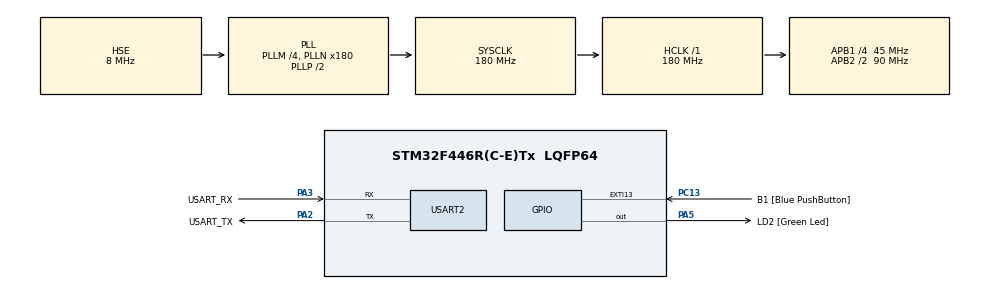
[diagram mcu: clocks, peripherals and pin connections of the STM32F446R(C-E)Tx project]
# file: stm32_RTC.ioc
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Mcu.Family=STM32F4
Mcu.Name=STM32F446R(C-E)Tx
Mcu.Package=LQFP64
NVIC.PriorityGroup=NVIC_PRIORITYGROUP_0
PA13.GPIO_Label=TMS
PA13.Mode=Serial_Wire
PA13.Signal=SYS_JTMS-SWDIO
PA14.GPIO_Label=TCK
PA14.Mode=Serial_Wire
PA14.Signal=SYS_JTCK-SWCLK
PA2.GPIO_Label=USART_TX
PA2.Mode=Asynchronous
PA2.Signal=USART2_TX
PA3.GPIO_Label=USART_RX
PA3.Mode=Asynchronous
PA3.Signal=USART2_RX
PA5.GPIO_Label=LD2 [Green Led]
PA5.Signal=GPIO_Output
PB3.GPIO_Label=SWO
PB3.Signal=SYS_JTDO-SWO
PC13.GPIO_Label=B1 [Blue PushButton]
PC13.GPIO_ModeDefaultEXTI=GPIO_MODE_IT_FALLING
PC13.Signal=GPXTI13
PC14-OSC32_IN.Mode=LSE-External-Oscillator
PC14-OSC32_IN.Signal=RCC_OSC32_IN
PC15-OSC32_OUT.Mode=LSE-External-Oscillator
PC15-OSC32_OUT.Signal=RCC_OSC32_OUT
PH0-OSC_IN.Mode=HSE-External-Oscillator
PH0-OSC_IN.Signal=RCC_OSC_IN
PH1-OSC_OUT.Mode=HSE-External-Oscillator
PH1-OSC_OUT.Signal=RCC_OSC_OUT
ProjectManager.HeapSize=0x200
ProjectManager.StackSize=0x400
ProjectManager.TargetToolchain=STM32CubeIDE
RCC.48MHZClocksFreq_Value=84000000
RCC.AHBFreq_Value=180000000
RCC.APB1CLKDivider=RCC_HCLK_DIV4
RCC.APB1Freq_Value=45000000
RCC.APB1TimFreq_Value=90000000
RCC.APB2CLKDivider=RCC_HCLK_DIV2
RCC.APB2Freq_Value=90000000
RCC.APB2TimFreq_Value=180000000
RCC.CortexFreq_Value=180000000
RCC.FLatency-AdvancedSettings=FLASH_LATENCY_5
RCC.HCLKFreq_Value=180000000
RCC.HSE_VALUE=8000000
RCC.HSI_VALUE=16000000
RCC.PLLM=4
RCC.PLLN=180
RCC.PLLSourceVirtual=RCC_PLLSOURCE_HSE
RCC.RCC_RTC_Clock_SourceVirtual=RCC_RTCCLKSOURCE_LSE
RCC.RCC_RTC_Clock_Source_FROM_HSE=RCC_RTCCLKSOURCE_HSE_DIV25
RCC.SYSCLKFreq_VALUE=180000000
RCC.SYSCLKSource=RCC_SYSCLKSOURCE_PLLCLK
RCC.USBFreq_Value=180000000
RCC.VCOOutputFreq_Value=360000000
RTC.Format=RTC_FORMAT_BIN
RTC.SynchPrediv=255
USART2.VirtualMode=VM_ASYNC
VP_RTC_VS_RTC_Activate.Mode=RTC_Enabled
VP_RTC_VS_RTC_Calendar.Mode=RTC_Calendar
board=NUCLEO-F446RE

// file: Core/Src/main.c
/* USER CODE BEGIN Header */
/**
  ******************************************************************************
  * @file           : main.c
  * @brief          : Main program body
  ******************************************************************************
  * @attention
  *
  * Copyright (c) 2026 STMicroelectronics.
  * All rights reserved.
  *
  * This software is licensed under terms that can be found in the LICENSE file
  * in the root directory of this software component.
  * If no LICENSE file comes with this software, it is provided AS-IS.
  *
  ******************************************************************************
  */
/* USER CODE END Header */
#include "main.h"

/* USER CODE BEGIN Includes */
#include <stdio.h>
/* USER CODE END Includes */

RTC_HandleTypeDef hrtc;

UART_HandleTypeDef huart2;

/* USER CODE BEGIN PV */
// Global variables for Time and Date (populate these using HAL_RTC_GetTime/Date)
RTC_TimeTypeDef sTime;
RTC_DateTypeDef sDate;

/* USER CODE END PV */

void SystemClock_Config(void);
static void MX_GPIO_Init(void);
static void MX_USART2_UART_Init(void);
static void MX_RTC_Init(void);

/* USER CODE BEGIN 0 */
// Send printf to uart2
int _write(int file, char *ptr, int len)
{
    HAL_UART_Transmit(&huart2, (uint8_t *)ptr, len, HAL_MAX_DELAY);
    return len;
}

void RTC_SetDateTime(uint8_t year, uint8_t month, uint8_t day,
                     uint8_t hour, uint8_t min, uint8_t sec)
{
    RTC_TimeTypeDef sTime = {0};
    RTC_DateTypeDef sDate = {0};

    /* Set Time */
    sTime.Hours   = hour;
    sTime.Minutes = min;
    sTime.Seconds = sec;
    sTime.DayLightSaving = RTC_DAYLIGHTSAVING_NONE;
    sTime.StoreOperation = RTC_STOREOPERATION_RESET;

    HAL_RTC_SetTime(&hrtc, &sTime, RTC_FORMAT_BIN);

    /* Set Date */
    sDate.Year  = year;   // 0–99  (e.g. 26 for 2026)
    sDate.Month = month;  // 1–12
    sDate.Date  = day;    // 1–31
    sDate.WeekDay = RTC_WEEKDAY_MONDAY; // optional but recommended

    HAL_RTC_SetDate(&hrtc, &sDate, RTC_FORMAT_BIN);
}

/* USER CODE END 0 */

int main(void)
{

  /* MCU Configuration--------------------------------------------------------*/

  /* Reset of all peripherals, Initializes the Flash interface and the Systick. */
  HAL_Init();

  /* Configure the system clock */
  SystemClock_Config();

  /* Initialize all configured peripherals */
  MX_GPIO_Init();
  MX_USART2_UART_Init();
  MX_RTC_Init();
  /* USER CODE BEGIN 2 */
  // Function to set date and time
  RTC_SetDateTime(26, 1, 5, 10, 51, 0);  // 2026-01-05 10:45:00

  /* USER CODE END 2 */

  /* Infinite loop */
  /* USER CODE BEGIN WHILE */
  while (1)
  {
	    HAL_RTC_GetTime(&hrtc, &sTime, RTC_FORMAT_BIN);
	    HAL_RTC_GetDate(&hrtc, &sDate, RTC_FORMAT_BIN);

	    printf("20%02d-%02d-%02d %02d:%02d:%02d\r\n",
	           sDate.Year, sDate.Month, sDate.Date,
	           sTime.Hours, sTime.Minutes, sTime.Seconds);

	    HAL_Delay(1000);
    /* USER CODE END WHILE */

  }
}

void SystemClock_Config(void)
{
  RCC_OscInitTypeDef RCC_OscInitStruct = {0};
  RCC_ClkInitTypeDef RCC_ClkInitStruct = {0};

  /** Configure the main internal regulator output voltage
  */
  __HAL_RCC_PWR_CLK_ENABLE();
  __HAL_PWR_VOLTAGESCALING_CONFIG(PWR_REGULATOR_VOLTAGE_SCALE1);

  /** Initializes the RCC Oscillators according to the specified parameters
  * in the RCC_OscInitTypeDef structure.
  */
  RCC_OscInitStruct.OscillatorType = RCC_OSCILLATORTYPE_HSE|RCC_OSCILLATORTYPE_LSE;
  RCC_OscInitStruct.HSEState = RCC_HSE_ON;
  RCC_OscInitStruct.LSEState = RCC_LSE_ON;
  RCC_OscInitStruct.PLL.PLLState = RCC_PLL_ON;
  RCC_OscInitStruct.PLL.PLLSource = RCC_PLLSOURCE_HSE;
  RCC_OscInitStruct.PLL.PLLM = 4;
  RCC_OscInitStruct.PLL.PLLN = 180;
  RCC_OscInitStruct.PLL.PLLP = RCC_PLLP_DIV2;
  RCC_OscInitStruct.PLL.PLLQ = 2;
  RCC_OscInitStruct.PLL.PLLR = 2;
  if (HAL_RCC_OscConfig(&RCC_OscInitStruct) != HAL_OK)
  {
    Error_Handler();
  }

  /** Activate the Over-Drive mode
  */
  if (HAL_PWREx_EnableOverDrive() != HAL_OK)
  {
    Error_Handler();
  }

  /** Initializes the CPU, AHB and APB buses clocks
  */
  RCC_ClkInitStruct.ClockType = RCC_CLOCKTYPE_HCLK|RCC_CLOCKTYPE_SYSCLK
                              |RCC_CLOCKTYPE_PCLK1|RCC_CLOCKTYPE_PCLK2;
  RCC_ClkInitStruct.SYSCLKSource = RCC_SYSCLKSOURCE_PLLCLK;
  RCC_ClkInitStruct.AHBCLKDivider = RCC_SYSCLK_DIV1;
  RCC_ClkInitStruct.APB1CLKDivider = RCC_HCLK_DIV4;
  RCC_ClkInitStruct.APB2CLKDivider = RCC_HCLK_DIV2;

  if (HAL_RCC_ClockConfig(&RCC_ClkInitStruct, FLASH_LATENCY_5) != HAL_OK)
  {
    Error_Handler();
  }
}

static void MX_RTC_Init(void)
{

  RTC_TimeTypeDef sTime = {0};
  RTC_DateTypeDef sDate = {0};

  /** Initialize RTC Only
  */
  hrtc.Instance = RTC;
  hrtc.Init.HourFormat = RTC_HOURFORMAT_24;
  hrtc.Init.AsynchPrediv = 127;
  hrtc.Init.SynchPrediv = 255;
  hrtc.Init.OutPut = RTC_OUTPUT_DISABLE;
  hrtc.Init.OutPutPolarity = RTC_OUTPUT_POLARITY_HIGH;
  hrtc.Init.OutPutType = RTC_OUTPUT_TYPE_OPENDRAIN;
  if (HAL_RTC_Init(&hrtc) != HAL_OK)
  {
    Error_Handler();
  }

  /** Initialize RTC and set the Time and Date
  */
  sTime.Hours = 0;
  sTime.Minutes = 0;
  sTime.Seconds = 0;
  sTime.DayLightSaving = RTC_DAYLIGHTSAVING_NONE;
  sTime.StoreOperation = RTC_STOREOPERATION_RESET;
  if (HAL_RTC_SetTime(&hrtc, &sTime, RTC_FORMAT_BIN) != HAL_OK)
  {
    Error_Handler();
  }
  sDate.WeekDay = RTC_WEEKDAY_MONDAY;
  sDate.Month = RTC_MONTH_JANUARY;
  sDate.Date = 1;
  sDate.Year = 0;

  if (HAL_RTC_SetDate(&hrtc, &sDate, RTC_FORMAT_BIN) != HAL_OK)
  {
    Error_Handler();
  }

}

static void MX_USART2_UART_Init(void)
{

  huart2.Instance = USART2;
  huart2.Init.BaudRate = 115200;
  huart2.Init.WordLength = UART_WORDLENGTH_8B;
  huart2.Init.StopBits = UART_STOPBITS_1;
  huart2.Init.Parity = UART_PARITY_NONE;
  huart2.Init.Mode = UART_MODE_TX_RX;
  huart2.Init.HwFlowCtl = UART_HWCONTROL_NONE;
  huart2.Init.OverSampling = UART_OVERSAMPLING_16;
  if (HAL_UART_Init(&huart2) != HAL_OK)
  {
    Error_Handler();
  }

}

static void MX_GPIO_Init(void)
{
  GPIO_InitTypeDef GPIO_InitStruct = {0};

  /* GPIO Ports Clock Enable */
  __HAL_RCC_GPIOC_CLK_ENABLE();
  __HAL_RCC_GPIOH_CLK_ENABLE();
  __HAL_RCC_GPIOA_CLK_ENABLE();
  __HAL_RCC_GPIOB_CLK_ENABLE();

  /*Configure GPIO pin Output Level */
  HAL_GPIO_WritePin(LD2_GPIO_Port, LD2_Pin, GPIO_PIN_RESET);

  /*Configure GPIO pin : B1_Pin */
  GPIO_InitStruct.Pin = B1_Pin;
  GPIO_InitStruct.Mode = GPIO_MODE_IT_FALLING;
  GPIO_InitStruct.Pull = GPIO_NOPULL;
  HAL_GPIO_Init(B1_GPIO_Port, &GPIO_InitStruct);

  /*Configure GPIO pin : LD2_Pin */
  GPIO_InitStruct.Pin = LD2_Pin;
  GPIO_InitStruct.Mode = GPIO_MODE_OUTPUT_PP;
  GPIO_InitStruct.Pull = GPIO_NOPULL;
  GPIO_InitStruct.Speed = GPIO_SPEED_FREQ_LOW;
  HAL_GPIO_Init(LD2_GPIO_Port, &GPIO_InitStruct);

}

void Error_Handler(void)
{
  __disable_irq();
  while (1)
  {
  }
}
